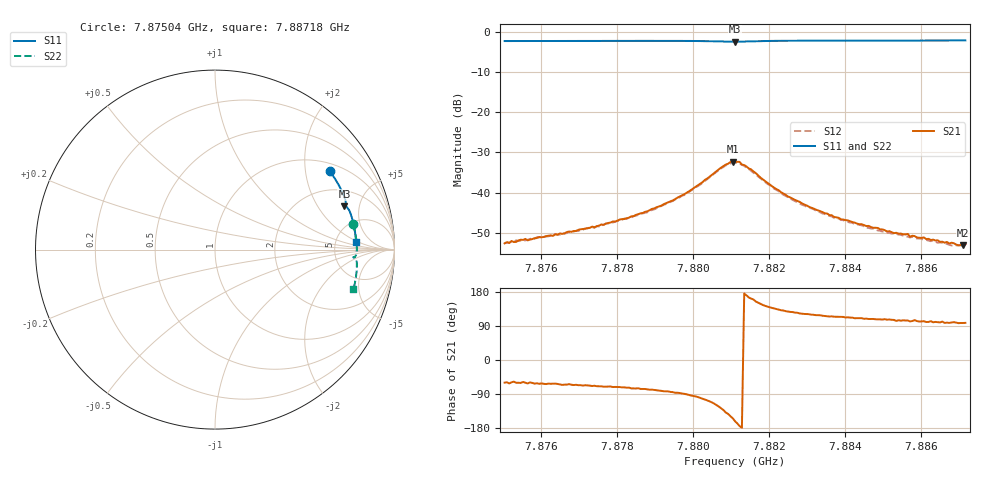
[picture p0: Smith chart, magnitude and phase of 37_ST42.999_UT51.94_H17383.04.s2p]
#  HZ  S  DB  R  50.00
! Rohde & Schwarz Vector Network Analyzer
! Rohde-Schwarz,ZNB20-2Port,1311601062101988,3.16
! Created: UTC 1/12/2023, 6:31:52 PM
! freq[Hz]  db:S11  ang:S11  db:S21  ang:S21  db:S12  ang:S12  db:S22  ang:S22
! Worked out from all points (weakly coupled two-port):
!   201 points, 7.87504 GHz to 7.88718 GHz, reference 50 ohm
!   highest |S21| = -32.30 dB at 7.88105 GHz (marker M1); lowest = -53.2 dB at 7.88711 GHz (marker M2)
!   lowest |S11| = -2.4 dB at 7.88111 GHz (marker M3), VSWR 7.35, Z = 155 + j177 ohm
!   |S11| at or under -10 dB: nowhere
!   |S22| runs from -2.3 to -1.9 dB; largest |S21 - S12| = 0.0021
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7.875045e9  -2.22 34.5  -52.67 -59.7  -52.63 -61.5  -2.14 10.4
7.875894e9  -2.21 32.1  -51.35 -61.4  -51.11 -64.0  -2.11 8.4
7.876318e9  -2.20 30.9  -50.80 -62.7  -50.87 -66.9  -2.10 7.4
7.876379e9  -2.20 30.8  -50.39 -62.3  -50.37 -65.9  -2.09 7.3
7.877107e9  -2.19 28.8  -49.10 -67.7  -49.28 -69.2  -2.08 5.6
7.878381e9  -2.18 25.3  -45.93 -74.9  -46.21 -77.7  -2.05 2.7
7.879108e9  -2.17 23.3  -43.48 -80.7  -43.51 -84.0  -2.04 0.9
7.879776e9  -2.19 21.3  -40.42 -89.3  -40.63 -93.3  -2.05 -0.8
7.880807e9  -2.33 18.5  -33.40 -132.1  -33.60 -135.4  -2.20 -3.2
7.881049e9  -2.38 18.4  -32.30 -153.6  -32.63 -158.2  -2.25 -3.2
7.88111e9  -2.38 18.5  -32.38 -161.5  -32.57 -164.2  -2.25 -3.1
7.881231e9  -2.37 18.5  -32.34 -174.3  -32.85 -176.8  -2.25 -3.1
7.881474e9  -2.30 18.3  -34.00 165.0  -34.14 162.5  -2.18 -3.1
7.882384e9  -2.15 15.7  -40.26 130.5  -40.55 126.6  -2.02 -5.2
7.883172e9  -2.13 13.5  -43.96 119.4  -44.12 116.3  -1.97 -7.2
7.8839e9  -2.11 11.5  -46.67 113.6  -46.82 110.2  -1.95 -8.8
7.885174e9  -2.09 8.1  -49.63 106.9  -50.07 102.5  -1.93 -11.6
7.885659e9  -2.09 6.9  -50.33 104.2  -51.02 100.6  -1.93 -12.7
7.88572e9  -2.09 6.7  -51.03 101.8  -51.21 101.2  -1.93 -12.8
7.886084e9  -2.08 5.7  -51.20 102.3  -51.75 100.9  -1.93 -13.6
7.887115e9  -2.08 3.1  -53.16 97.6  -53.36 94.9  -1.92 -15.8
7.887175e9  -2.07 2.9  -52.89 98.0  -53.37 94.7  -1.91 -15.9
